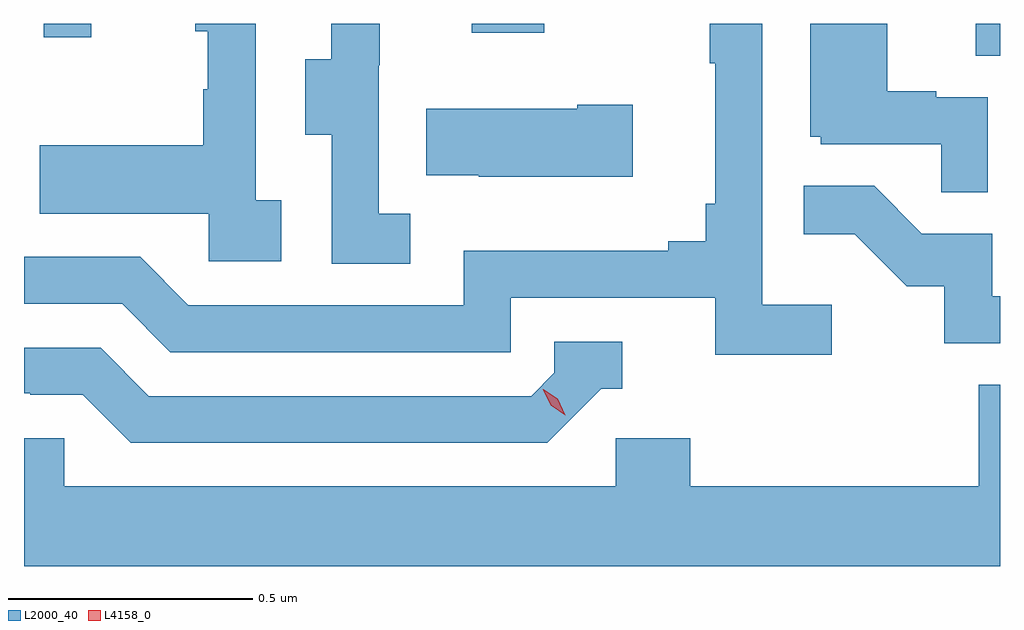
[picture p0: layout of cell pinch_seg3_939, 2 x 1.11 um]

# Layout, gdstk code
import gdstk
lib = gdstk.Library(unit=1e-6, precision=1e-09)
def R(c, l, rs):  # rectangles x0, y0, x1, y1
    for r in rs: c.add(gdstk.rectangle(r[:2], r[2:], *l))
def P(c, l, *ps):  # polygons
    for p in ps: c.add(gdstk.Polygon(p, *l))
L2000_40 = (2000, 40)
L4158_0 = (4158, 0)

pinch_seg3_939 = lib.new_cell('pinch_seg3_939')
R(pinch_seg3_939, L2000_40, [(883.631,683.314,883.681,683.38), (881.721,683.352,881.819,683.38), (882.599,683.361,882.747,683.38)])
P(pinch_seg3_939, L2000_40, [(883.656,683.229),(883.55,683.229),(883.55,683.242),(883.45,683.242),(883.45,683.38),(883.292,683.38),(883.292,683.148),(883.314,683.148),(883.314,683.133),(883.561,683.133),(883.561,683.035),(883.656,683.035)],
  [(883.336,682.804),(883.194,682.804),(883.194,683.38),(883.086,683.38),(883.086,683.299),(883.097,683.299),(883.097,683.011),(883.078,683.011),(883.078,682.934),(883.001,682.934),(883.001,682.915),(882.582,682.915),(882.582,682.803),(882.018,682.803),(881.919,682.902),(881.681,682.902),(881.681,682.806),(881.882,682.806),(881.981,682.707),(882.678,682.707),(882.678,682.818),(883.097,682.818),(883.097,682.702),(883.336,682.702)],
  [(882.472,682.991),(882.408,682.991),(882.408,683.295),(882.41,683.295),(882.41,683.38),(882.311,683.38),(882.311,683.307),(882.257,683.307),(882.257,683.152),(882.312,683.152),(882.312,682.888),(882.472,682.888)],
  [(882.208,683.018),(882.156,683.018),(882.156,683.38),(882.032,683.38),(882.032,683.364),(882.058,683.364),(882.058,683.246),(882.048,683.246),(882.048,683.131),(881.713,683.131),(881.713,682.991),(882.06,682.991),(882.06,682.893),(882.208,682.893)],
  [(882.928,683.214),(882.815,683.214),(882.815,683.206),(882.505,683.206),(882.505,683.069),(882.613,683.069),(882.613,683.066),(882.928,683.066)],
  [(883.681,682.821),(883.665,682.821),(883.665,682.95),(883.521,682.95),(883.423,683.048),(883.279,683.048),(883.279,682.949),(883.383,682.949),(883.49,682.842),(883.567,682.842),(883.567,682.725),(883.681,682.725)],
  [(882.864,682.632),(882.907,682.632),(882.907,682.728),(882.768,682.728),(882.768,682.665),(882.72,682.617),(881.937,682.617),(881.838,682.716),(881.681,682.716),(881.681,682.623),(881.694,682.623),(881.694,682.62),(881.801,682.62),(881.9,682.521),(882.753,682.521)],
  [(883.681,682.64),(883.637,682.64),(883.637,682.432),(883.046,682.432),(883.046,682.53),(882.894,682.53),(882.894,682.432),(881.763,682.432),(881.763,682.53),(881.681,682.53),(881.681,682.268),(883.681,682.268)])
P(pinch_seg3_939, L4158_0, [(882.79,682.578),(882.76,682.598),(882.744,682.631),(882.744,682.631),(882.745,682.631),(882.775,682.611),(882.79,682.578),(882.79,682.578)])

lib.write_gds('pinch_seg3_939.gds')
